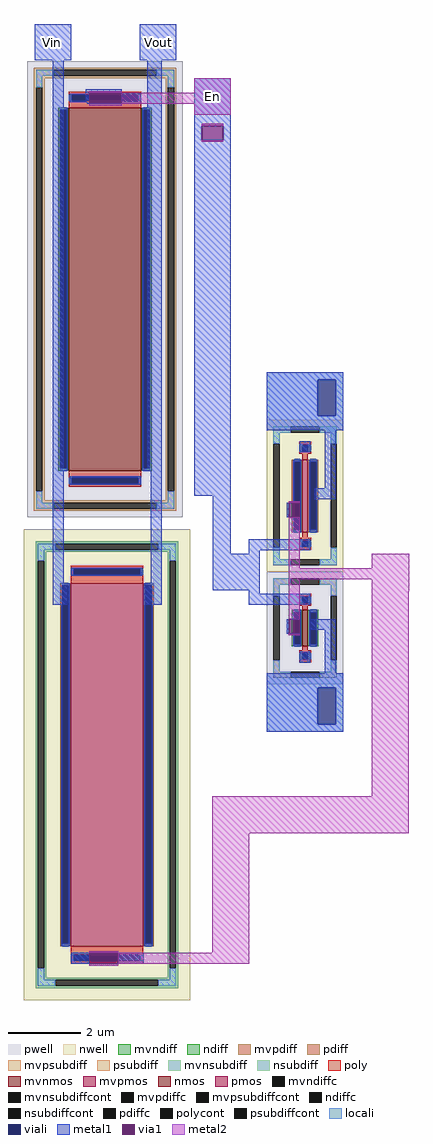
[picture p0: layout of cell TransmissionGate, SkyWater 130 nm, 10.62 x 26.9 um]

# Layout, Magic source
magic
tech sky130B
magscale 1 2
<< metal1 >>
rect 340 2980 540 3180
rect 920 2980 1120 3180
rect 440 80 500 2980
rect 620 2800 820 2820
rect 620 2760 640 2800
rect 630 2740 640 2760
rect 820 2740 830 2760
rect 960 720 1040 2980
rect 980 80 1040 720
rect 1220 2620 1420 2880
rect 1220 2540 1260 2620
rect 1380 2540 1420 2620
rect 1220 580 1420 2540
rect 1320 220 1420 580
rect 440 -20 520 80
rect 940 -20 1040 80
rect 540 -2000 640 -1940
rect 800 -2000 940 -1940
<< via1 >>
rect 640 2740 820 2800
rect 1260 2540 1380 2620
rect 640 -2000 800 -1940
<< metal2 >>
rect 640 2800 820 2810
rect 1220 2800 1420 2880
rect 820 2740 1420 2800
rect 640 2730 820 2740
rect 1220 2680 1420 2740
rect 1260 2620 1380 2630
rect 1260 2530 1380 2540
rect 2197 57 2404 260
rect 2199 -1078 2402 57
rect 1319 -1281 2402 -1078
rect 640 -1940 800 -1930
rect 1319 -1940 1522 -1281
rect 800 -2000 1522 -1940
rect 640 -2010 800 -2000
use inverter  x1
transform 1 0 1680 0 1 -820
box -360 100 720 2080
use sky130_fd_pr__nfet_g5v0d10v5_PXKL9Z  XM1
transform 1 0 728 0 1 1718
box -428 -1258 428 1258
use sky130_fd_pr__pfet_g5v0d10v5_V6BEPM  XM2
transform 1 0 738 0 1 -903
box -458 -1297 458 1297
<< labels >>
flabel metal1 340 2980 540 3180 0 FreeSans 256 0 0 0 Vin
port 1 nsew
flabel metal1 920 2980 1120 3180 0 FreeSans 256 0 0 0 Vout
port 0 nsew
flabel metal2 1220 2680 1420 2880 0 FreeSans 256 0 0 0 En
port 2 nsew
<< end >>

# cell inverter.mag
magic
tech sky130B
magscale 1 2
<< locali >>
rect -60 2040 360 2080
rect -60 1840 220 2040
rect 320 1840 360 2040
rect -60 1760 360 1840
rect -60 340 360 420
rect -60 140 220 340
rect 320 140 360 340
rect -60 100 360 140
<< viali >>
rect 220 1840 320 2040
rect 220 140 320 340
<< metal1 >>
rect -60 2040 360 2080
rect -60 1840 220 2040
rect 320 1840 360 2040
rect -60 1760 360 1840
rect 120 1640 180 1700
rect 260 1440 320 1760
rect 200 1380 320 1440
rect 50 1280 60 1360
rect 120 1280 130 1360
rect -160 1100 180 1160
rect -160 1080 -100 1100
rect -360 880 -100 1080
rect -160 860 -100 880
rect -160 800 180 860
rect 50 640 60 720
rect 120 640 130 720
rect 180 660 320 720
rect 120 480 180 540
rect 260 420 320 660
rect -60 340 360 420
rect -60 140 220 340
rect 320 140 360 340
rect -60 100 360 140
<< via1 >>
rect 60 1280 120 1360
rect 60 640 120 720
<< metal2 >>
rect 60 1360 120 1370
rect 60 1000 120 1280
rect 520 1000 720 1080
rect 60 940 720 1000
rect 60 720 120 940
rect 520 880 720 940
rect 60 630 120 640
use sky130_fd_pr__nfet_01v8_648S5X  XM1
transform 1 0 151 0 1 670
box -211 -310 211 310
use sky130_fd_pr__pfet_01v8_XGAKDL  XM3
transform 1 0 151 0 1 1399
box -211 -419 211 419
<< labels >>
flabel metal1 -360 880 -160 1080 0 FreeSans 256 0 0 0 Vin
port 1 nsew
flabel metal1 -20 140 180 340 0 FreeSans 256 0 0 0 VSS
port 3 nsew
flabel metal1 -20 1840 180 2040 0 FreeSans 256 0 0 0 VDD
port 2 nsew
flabel metal2 520 880 720 1080 0 FreeSans 256 0 0 0 Vout
port 0 nsew
<< end >>

# cell sky130_fd_pr__nfet_g5v0d10v5_PXKL9Z: kit device sky130_fd_pr__nfet_g5v0d10v5, w 10.0 l 2.0 m 1 nf 1 diffcov 100 polycov 100 guard 1 glc 1 grc 1 gtc 1 gbc 1 tbcov 100 rlcov 100 topc 1 botc 1 poverlap 0 doverlap 1 lmin 0.50 wmin 0.42 compatible {sky130_fd_pr__nfet_01v8 sky130_fd_pr__nfet_01v8_lvt sky130_fd_bs_flash__special_sonosfet_star sky130_fd_pr__nfet_g5v0d10v5 sky130_fd_pr__nfet_05v0_nvt sky130_fd_pr__nfet_03v3_nvt} full_metal 1 viasrc 100 viadrn 100 viagate 100 viagb 0 viagr 0 viagl 0 viagt 0

# cell sky130_fd_pr__pfet_g5v0d10v5_V6BEPM: kit device sky130_fd_pr__pfet_g5v0d10v5, w 10.0 l 2.0 m 1 nf 1 diffcov 100 polycov 100 guard 1 glc 1 grc 1 gtc 1 gbc 1 tbcov 100 rlcov 100 topc 1 botc 1 poverlap 0 doverlap 1 lmin 0.50 wmin 0.42 compatible {sky130_fd_pr__pfet_01v8 sky130_fd_pr__pfet_01v8_lvt sky130_fd_pr__pfet_01v8_hvt sky130_fd_pr__pfet_g5v0d10v5} full_metal 1 viasrc 100 viadrn 100 viagate 100 viagb 0 viagr 0 viagl 0 viagt 0

# cell sky130_fd_pr__nfet_01v8_648S5X: kit device sky130_fd_pr__nfet_01v8, w 1.0 l 0.15 m 1 nf 1 diffcov 100 polycov 100 guard 1 glc 1 grc 1 gtc 1 gbc 1 tbcov 100 rlcov 100 topc 1 botc 1 poverlap 0 doverlap 1 lmin 0.15 wmin 0.42 compatible {sky130_fd_pr__nfet_01v8 sky130_fd_pr__nfet_01v8_lvt sky130_fd_bs_flash__special_sonosfet_star sky130_fd_pr__nfet_g5v0d10v5 sky130_fd_pr__nfet_05v0_nvt sky130_fd_pr__nfet_03v3_nvt} full_metal 1 viasrc 100 viadrn 100 viagate 100 viagb 0 viagr 0 viagl 0 viagt 0

# cell sky130_fd_pr__pfet_01v8_XGAKDL: kit device sky130_fd_pr__pfet_01v8, w 2.0 l 0.15 m 1 nf 1 diffcov 100 polycov 100 guard 1 glc 1 grc 1 gtc 1 gbc 1 tbcov 100 rlcov 100 topc 1 botc 1 poverlap 0 doverlap 1 lmin 0.15 wmin 0.42 compatible {sky130_fd_pr__pfet_01v8 sky130_fd_pr__pfet_01v8_lvt sky130_fd_pr__pfet_01v8_hvt sky130_fd_pr__pfet_g5v0d10v5} full_metal 1 viasrc 100 viadrn 100 viagate 100 viagb 0 viagr 0 viagl 0 viagt 0
